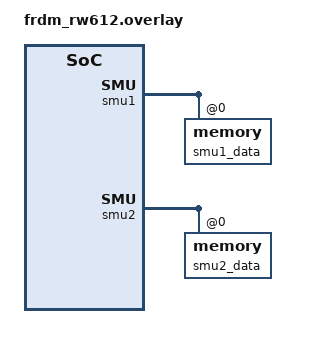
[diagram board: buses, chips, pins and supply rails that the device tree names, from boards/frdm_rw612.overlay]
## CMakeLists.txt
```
# SPDX-License-Identifier: Apache-2.0

cmake_minimum_required(VERSION 3.20.0)
find_package(Zephyr REQUIRED HINTS $ENV{ZEPHYR_BASE})
project(mbedtls)

set(output_file ${PROJECT_BINARY_DIR}/mbedtls-check.timestamp)

FILE(GLOB app_sources src/*.c)
target_sources(app PRIVATE ${app_sources})
```

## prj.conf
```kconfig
CONFIG_ZTEST_STACK_SIZE=4096
CONFIG_MBEDTLS=y
CONFIG_MBEDTLS_BUILTIN=y
CONFIG_MBEDTLS_TEST=y
CONFIG_ZTEST=y
CONFIG_TEST_USERSPACE=y
CONFIG_MINIMAL_LIBC=y
CONFIG_MINIMAL_LIBC_NON_REENTRANT_FUNCTIONS=y
CONFIG_MINIMAL_LIBC_RAND=y
CONFIG_ENTROPY_GENERATOR=y
CONFIG_TEST_RANDOM_GENERATOR=y
CONFIG_MBEDTLS_CIPHER_AES_ENABLED=y
CONFIG_MBEDTLS_USE_PSA_CRYPTO=n
CONFIG_PSA_CRYPTO_ENABLE_ALL=n
```

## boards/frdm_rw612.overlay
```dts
/*
 * Copyright 2024 NXP
 *
 * SPDX-License-Identifier: Apache-2.0
 */

&smu1 {
	smu1_data: memory@0 {
		/delete-property/ zephyr,memory-attr;
	};
};

&smu2 {
	smu2_data: memory@0 {
		/delete-property/ zephyr,memory-attr;
	};
};
```

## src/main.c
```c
/*
 * Copyright (c) 2017 Intel Corporation
 *
 * SPDX-License-Identifier: Apache-2.0
 */

#include <zephyr/ztest.h>
#include <zephyr/app_memory/partitions.h>

extern void test_mbedtls(void);

void *mbedtls_fn_setup(void)
{
#ifdef CONFIG_USERSPACE
	int ret = k_mem_domain_add_partition(&k_mem_domain_default,
					     &k_mbedtls_partition);
	if (ret != 0) {
		printk("Failed to add memory partition (%d)\n", ret);
		k_oops();
	}
#endif

	return NULL;
}

ZTEST_SUITE(mbedtls_fn, NULL, mbedtls_fn_setup, NULL, NULL, NULL);
```

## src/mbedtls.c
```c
/*  Self-test demonstration program
 *
 *  Copyright (C) 2006-2015, ARM Limited, All Rights Reserved
 *
 *  SPDX-License-Identifier: Apache-2.0
 *
 *  This file is part of mbed TLS (https://tls.mbed.org)
 */

#include <zephyr/sys/printk.h>
#define  MBEDTLS_PRINT (int(*)(const char *, ...)) printk

#include <string.h>
#include <stdio.h>
#include <stdlib.h>

#include <zephyr/kernel.h>
#include <zephyr/linker/sections.h>
#include <errno.h>

#include <zephyr/tc_util.h>
#include <zephyr/ztest.h>

#define MBEDTLS_ALLOW_PRIVATE_ACCESS

#include "mbedtls/build_info.h"


#include "mbedtls/entropy.h"
#include "mbedtls/hmac_drbg.h"
#include "mbedtls/ctr_drbg.h"
#include "mbedtls/dhm.h"
#include "mbedtls/gcm.h"
#include "mbedtls/ccm.h"
#include "mbedtls/cmac.h"
#include "mbedtls/ripemd160.h"
#include "mbedtls/sha1.h"
#include "mbedtls/sha256.h"
#include "mbedtls/sha512.h"
#include "mbedtls/des.h"
#include "mbedtls/aes.h"
#include "mbedtls/camellia.h"
#include "mbedtls/aria.h"
#include "mbedtls/chacha20.h"
#include "mbedtls/poly1305.h"
#include "mbedtls/chachapoly.h"
#include "mbedtls/base64.h"
#include "mbedtls/bignum.h"
#include "mbedtls/rsa.h"
#include "mbedtls/x509.h"
#include "mbedtls/pkcs5.h"
#include "mbedtls/ecp.h"
#include "mbedtls/ecjpake.h"
#include "mbedtls/timing.h"
#include "mbedtls/nist_kw.h"

#if defined(MBEDTLS_PLATFORM_C)
#include "mbedtls/platform.h"
#else
#include <stdio.h>
#include <stdlib.h>
#define mbedtls_printf     printf
#define mbedtls_snprintf   snprintf
#define mbedtls_exit       exit
#define MBEDTLS_EXIT_SUCCESS EXIT_SUCCESS
#define MBEDTLS_EXIT_FAILURE EXIT_FAILURE
#endif

#if defined(MBEDTLS_MEMORY_BUFFER_ALLOC_C)
#include "mbedtls/memory_buffer_alloc.h"
#endif

static int test_snprintf(size_t n, const char *ref_buf, int ref_ret)
{
	int ret;
	char buf[10] = "xxxxxxxxx";
	const char ref[10] = "xxxxxxxxx";

	ret = mbedtls_snprintf(buf, n, "%s", "123");
	if (ret < 0 || (size_t) ret >= n) {
		ret = -1;
	}

	if (strncmp(ref_buf, buf, sizeof(buf)) != 0 ||
	    ref_ret != ret || memcmp(buf + n, ref + n, sizeof(buf) - n) != 0) {
		return 1;
	}

	return 0;
}

static int run_test_snprintf(void)
{
	return (test_snprintf(0, "xxxxxxxxx", -1) != 0 ||
		test_snprintf(1, "", -1) != 0 ||
		test_snprintf(2, "1", -1) != 0 ||
		test_snprintf(3, "12", -1) != 0 ||
		test_snprintf(4, "123", 3) != 0 ||
		test_snprintf(5, "123", 3) != 0);
}

/*
 * Check if a seed file is present, and if not create one for the entropy
 * self-test. If this fails, we attempt the test anyway, so no error is passed
 * back.
 */
#if defined(MBEDTLS_ENTROPY_C) && defined(MBEDTLS_ENTROPY_NV_SEED) && \
	!defined(MBEDTLS_NO_PLATFORM_ENTROPY)
static void create_entropy_seed_file(void)
{
	int result;
	size_t output_len = 0;
	unsigned char seed_value[MBEDTLS_ENTROPY_BLOCK_SIZE];

/* Attempt to read the entropy seed file. If this fails - attempt to write
 * to the file to ensure one is present.
 */
	result = mbedtls_platform_std_nv_seed_read(seed_value,
						   MBEDTLS_ENTROPY_BLOCK_SIZE);
	if (result == 0) {
		return;
	}

	result = mbedtls_platform_entropy_poll(NULL,
					       seed_value,
					       MBEDTLS_ENTROPY_BLOCK_SIZE,
					       &output_len);
	if (result != 0) {
		return;
	}

	if (output_len != MBEDTLS_ENTROPY_BLOCK_SIZE) {
		return;
	}

	mbedtls_platform_std_nv_seed_write(seed_value,
					   MBEDTLS_ENTROPY_BLOCK_SIZE);
}
#endif

#if defined(MBEDTLS_MEMORY_BUFFER_ALLOC_C)
ZTEST_BMEM unsigned char buf[16000];
#endif

ZTEST_USER(mbedtls_fn, test_mbedtls)
{
	int v, suites_tested = 0, suites_failed = 0;

	void *pointer;

#if defined(MBEDTLS_PLATFORM_PRINTF_ALT)
	mbedtls_platform_set_printf(MBEDTLS_PRINT);
#endif

/*
 * The C standard doesn't guarantee that all-bits-0 is the representation
 * of a NULL pointer. We do however use that in our code for initializing
 * structures, which should work on every modern platform. Let's be sure.
 */
	(void)memset(&pointer, 0, sizeof(void *));
	if (pointer != NULL) {
		mbedtls_printf("all-bits-zero is not a NULL pointer\n");
		mbedtls_exit(MBEDTLS_EXIT_FAILURE);
	}

	/*
	 * Make sure we have a snprintf that correctly zero-terminates
	 */
	if (run_test_snprintf() != 0) {
		mbedtls_printf("the snprintf implementation is broken\n");
		mbedtls_exit(MBEDTLS_EXIT_FAILURE);
	}

	v = 1;
	mbedtls_printf("\n");

#if defined(MBEDTLS_SELF_TEST)

#if defined(MBEDTLS_MEMORY_BUFFER_ALLOC_C)
	mbedtls_memory_buffer_alloc_init(buf, sizeof(buf));
#endif

#if defined(MBEDTLS_MD2_C)
	if (mbedtls_md2_self_test(v) != 0) {
		suites_failed++;
	}
	suites_tested++;
#endif

#if defined(MBEDTLS_MD4_C)
	if (mbedtls_md4_self_test(v) != 0) {
		suites_failed++;
	}
	suites_tested++;
#endif

#if defined(MBEDTLS_RIPEMD160_C)
	if (mbedtls_ripemd160_self_test(v) != 0) {
		suites_failed++;
	}
	suites_tested++;
#endif

#if defined(MBEDTLS_SHA512_C)
	if (mbedtls_sha512_self_test(v) != 0) {
		suites_failed++;
	}
	suites_tested++;
#endif

#if defined(MBEDTLS_ARC4_C)
	if (mbedtls_arc4_self_test(v) != 0) {
		suites_failed++;
	}
	suites_tested++;
#endif

#if defined(MBEDTLS_DES_C)
	if (mbedtls_des_self_test(v) != 0) {
		suites_failed++;
	}
	suites_tested++;
#endif

#if defined(MBEDTLS_AES_C)
	if (mbedtls_aes_self_test(v) != 0) {
		suites_failed++;
	}
	suites_tested++;
#endif

#if defined(MBEDTLS_GCM_C) && defined(MBEDTLS_AES_C)
	if (mbedtls_gcm_self_test(v) != 0) {
		suites_failed++;
	}
	suites_tested++;
#endif

#if defined(MBEDTLS_CCM_C) && defined(MBEDTLS_AES_C)
	if (mbedtls_ccm_self_test(v) != 0) {
		suites_failed++;
	}
	suites_tested++;
#endif

#if defined(MBEDTLS_BASE64_C)
	if (mbedtls_base64_self_test(v) != 0) {
		suites_failed++;
	}
	suites_tested++;
#endif

#if defined(MBEDTLS_BIGNUM_C)
	if (mbedtls_mpi_self_test(v) != 0) {
		suites_failed++;
	}
	suites_tested++;
#endif

#if defined(MBEDTLS_RSA_C)
	if (mbedtls_rsa_self_test(v) != 0) {
		suites_failed++;
	}
	suites_tested++;
#endif

#if defined(MBEDTLS_CAMELLIA_C)
	if (mbedtls_camellia_self_test(v) != 0) {
		suites_failed++;
	}
	suites_tested++;
#endif

#if defined(MBEDTLS_ARIA_C)
	if (mbedtls_aria_self_test(v) != 0) {
		suites_failed++;
	}
	suites_tested++;
#endif

#if defined(MBEDTLS_CTR_DRBG_C)
	if (mbedtls_ctr_drbg_self_test(v) != 0) {
		suites_failed++;
	}
	suites_tested++;
#endif

#if defined(MBEDTLS_HMAC_DRBG_C)
	if (mbedtls_hmac_drbg_self_test(v) != 0) {
		suites_failed++;
	}
	suites_tested++;
#endif

#if defined(MBEDTLS_ECP_C)
	if (mbedtls_ecp_self_test(v) != 0) {
		suites_failed++;
	}
	suites_tested++;
#endif

#if defined(MBEDTLS_ECJPAKE_C)
	if (mbedtls_ecjpake_self_test(v) != 0) {
		suites_failed++;
	}
	suites_tested++;
#endif

#if defined(MBEDTLS_DHM_C)
	if (mbedtls_dhm_self_test(v) != 0) {
		suites_failed++;
	}
	suites_tested++;
#endif

#if defined(MBEDTLS_ENTROPY_C)

#if defined(MBEDTLS_ENTROPY_NV_SEED) && !defined(MBEDTLS_NO_PLATFORM_ENTROPY)
	create_entropy_seed_file();
#endif

	if (mbedtls_entropy_self_test(v) != 0) {
		suites_failed++;
	}
	suites_tested++;
#endif

#if defined(MBEDTLS_PKCS5_C)
	if (mbedtls_pkcs5_self_test(v) != 0) {
		suites_failed++;
	}
	suites_tested++;
#endif

#if defined(MBEDTLS_CMAC_C) \
	&& (defined(MBEDTLS_AES_C) || defined(MBEDTLS_DES_C))
	if (mbedtls_cmac_self_test(v) != 0) {
		suites_failed++;
	}
	suites_tested++;
#endif

/* Slow tests last */

#if defined(MBEDTLS_TIMING_C)
	if (mbedtls_timing_self_test(v) != 0) {
		suites_failed++;
	}
	suites_tested++;
#endif

#else
	mbedtls_printf(" MBEDTLS_SELF_TEST not defined.\n");
#endif

	if (v != 0) {
#if defined(MBEDTLS_MEMORY_BUFFER_ALLOC_C) && defined(MBEDTLS_MEMORY_DEBUG)
		mbedtls_memory_buffer_alloc_status();
#endif
	}
#if defined(MBEDTLS_SELF_TEST)
#if defined(MBEDTLS_MEMORY_BUFFER_ALLOC_C)
	mbedtls_memory_buffer_alloc_free();
	if (mbedtls_memory_buffer_alloc_self_test(v) != 0) {
		suites_failed++;
	}
	suites_tested++;
#endif
#endif

	if (v != 0) {
		mbedtls_printf("  Executed %d test suites\n\n", suites_tested);
		if (suites_failed > 0) {
			mbedtls_printf("  [ %d tests FAIL ]\n\n",
				       suites_failed);
		} else {
			mbedtls_printf("  [ All tests PASS ]\n\n");
		}
		zassert_not_equal(suites_tested, 0,
			      "ran %d tests", suites_tested);
		zassert_equal(suites_failed, 0,
			      "%d tests failed", suites_failed);

#if defined(_WIN32)
		mbedtls_printf("  Press Enter to exit this program.\n");
		fflush(stdout);
		getchar();
#endif
	}

}
```

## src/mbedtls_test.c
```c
/*  Self-test demonstration program
 *
 *  Copyright (C) 2006-2015, ARM Limited, All Rights Reserved
 *
 *  SPDX-License-Identifier: Apache-2.0
 *
 *  This file is part of mbed TLS (https://tls.mbed.org)
 */

#if defined(CONFIG_STDOUT_CONSOLE)
#include <stdio.h>
#define  MBEDTLS_PRINT printf
#else
#include <misc/printk.h>
#define  MBEDTLS_PRINT printk
#endif /* CONFIG_STDOUT_CONSOLE */

#include <string.h>
#include <stdio.h>
#include <stdlib.h>

#include <zephyr.h>
#include <linker/sections.h>
#include <errno.h>

#include <tc_util.h>

#if !defined(CONFIG_MBEDTLS_CFG_FILE)
#include "mbedtls/config.h"
#else
#include CONFIG_MBEDTLS_CFG_FILE
#endif

#include "mbedtls/entropy.h"
#include "mbedtls/entropy_poll.h"
#include "mbedtls/hmac_drbg.h"
#include "mbedtls/ctr_drbg.h"
#include "mbedtls/dhm.h"
#include "mbedtls/gcm.h"
#include "mbedtls/ccm.h"
#include "mbedtls/md2.h"
#include "mbedtls/md4.h"
#include "mbedtls/md5.h"
#include "mbedtls/ripemd160.h"
#include "mbedtls/sha1.h"
#include "mbedtls/sha256.h"
#include "mbedtls/sha512.h"
#include "mbedtls/arc4.h"
#include "mbedtls/des.h"
#include "mbedtls/aes.h"
#include "mbedtls/camellia.h"
#include "mbedtls/base64.h"
#include "mbedtls/bignum.h"
#include "mbedtls/rsa.h"
#include "mbedtls/x509.h"
#include "mbedtls/xtea.h"
#include "mbedtls/pkcs5.h"
#include "mbedtls/ecp.h"
#include "mbedtls/ecjpake.h"
#include "mbedtls/timing.h"
#include "mbedtls/cmac.h"

#if defined(MBEDTLS_PLATFORM_C)
#include "mbedtls/platform.h"
#else
#include <stdio.h>
#include <stdlib.h>
#define mbedtls_printf     printf
#define mbedtls_snprintf   snprintf
#define mbedtls_exit       exit
#define MBEDTLS_EXIT_SUCCESS EXIT_SUCCESS
#define MBEDTLS_EXIT_FAILURE EXIT_FAILURE
#endif

#if defined(MBEDTLS_MEMORY_BUFFER_ALLOC_C)
#include "mbedtls/memory_buffer_alloc.h"
#endif

#if defined(MBEDTLS_RSA_C)
int rand(void)
{
	static u32_t seed = 7;

	seed ^= seed << 13;
	seed ^= seed >> 17;
	seed ^= seed << 5;

	return seed;
}

#endif

static int test_snprintf(size_t n, const char ref_buf[10], int ref_ret)
{
	int ret;
	char buf[10] = "xxxxxxxxx";
	const char ref[10] = "xxxxxxxxx";

	ret = mbedtls_snprintf(buf, n, "%s", "123");
	if (ret < 0 || (size_t) ret >= n) {
		ret = -1;
	}

	if (strncmp(ref_buf, buf, sizeof(buf)) != 0 ||
	    ref_ret != ret || memcmp(buf + n, ref + n, sizeof(buf) - n) != 0) {
		return 1;
	}

	return 0;
}

static int run_test_snprintf(void)
{
	return (test_snprintf(0, "xxxxxxxxx", -1) != 0 ||
		test_snprintf(1, "", -1) != 0 ||
		test_snprintf(2, "1", -1) != 0 ||
		test_snprintf(3, "12", -1) != 0 ||
		test_snprintf(4, "123", 3) != 0 ||
		test_snprintf(5, "123", 3) != 0);
}

/*
 * Check if a seed file is present, and if not create one for the entropy
 * self-test. If this fails, we attempt the test anyway, so no error is passed
 * back.
 */
#if defined(MBEDTLS_ENTROPY_C) && defined(MBEDTLS_ENTROPY_NV_SEED) && \
	!defined(MBEDTLS_NO_PLATFORM_ENTROPY)
static void create_entropy_seed_file(void)
{
	int result;
	size_t output_len = 0;
	unsigned char seed_value[MBEDTLS_ENTROPY_BLOCK_SIZE];

/* Attempt to read the entropy seed file. If this fails - attempt to write
 * to the file to ensure one is present.
 */
	result = mbedtls_platform_std_nv_seed_read(seed_value,
						   MBEDTLS_ENTROPY_BLOCK_SIZE);
	if (0 == result) {
		return;
	}

	result = mbedtls_platform_entropy_poll(NULL,
					       seed_value,
					       MBEDTLS_ENTROPY_BLOCK_SIZE,
					       &output_len);
	if (0 != result) {
		return;
	}

	if (MBEDTLS_ENTROPY_BLOCK_SIZE != output_len) {
		return;
	}

	mbedtls_platform_std_nv_seed_write(seed_value,
					   MBEDTLS_ENTROPY_BLOCK_SIZE);
}
#endif

#if defined(MBEDTLS_MEMORY_BUFFER_ALLOC_C)
unsigned char buf[16384];
#endif

int main(void)
{
	int v, suites_tested = 0, suites_failed = 0;

	void *pointer;

	mbedtls_platform_set_printf(MBEDTLS_PRINT);

	TC_START("Performing mbedTLS crypto tests:");

/*
 * The C standard doesn't guarantee that all-bits-0 is the representation
 * of a NULL pointer. We do however use that in our code for initializing
 * structures, which should work on every modern platform. Let's be sure.
 */
	memset(&pointer, 0, sizeof(void *));
	if (pointer != NULL) {
		mbedtls_printf("all-bits-zero is not a NULL pointer\n");
		mbedtls_exit(MBEDTLS_EXIT_FAILURE);
	}

	/*
	 * Make sure we have a snprintf that correctly zero-terminates
	 */
	if (run_test_snprintf() != 0) {
		mbedtls_printf("the snprintf implementation is broken\n");
		mbedtls_exit(MBEDTLS_EXIT_FAILURE);
	}

	v = 1;
	mbedtls_printf("\n");

#if defined(MBEDTLS_SELF_TEST)

#if defined(MBEDTLS_MEMORY_BUFFER_ALLOC_C)
	mbedtls_memory_buffer_alloc_init(buf, sizeof(buf));
#endif

#if defined(MBEDTLS_MD2_C)
	if (mbedtls_md2_self_test(v) != 0) {
		suites_failed++;
	}
	suites_tested++;
#endif

#if defined(MBEDTLS_MD4_C)
	if (mbedtls_md4_self_test(v) != 0) {
		suites_failed++;
	}
	suites_tested++;
#endif

#if defined(MBEDTLS_MD5_C)
	if (mbedtls_md5_self_test(v) != 0) {
		suites_failed++;
	}
	suites_tested++;
#endif

#if defined(MBEDTLS_RIPEMD160_C)
	if (mbedtls_ripemd160_self_test(v) != 0) {
		suites_failed++;
	}
	suites_tested++;
#endif

#if defined(MBEDTLS_SHA1_C)
	if (mbedtls_sha1_self_test(v) != 0) {
		suites_failed++;
	}
	suites_tested++;
#endif

#if defined(MBEDTLS_SHA256_C)
	if (mbedtls_sha256_self_test(v) != 0) {
		suites_failed++;
	}
	suites_tested++;
#endif

#if defined(MBEDTLS_SHA512_C)
	if (mbedtls_sha512_self_test(v) != 0) {
		suites_failed++;
	}
	suites_tested++;
#endif

#if defined(MBEDTLS_ARC4_C)
	if (mbedtls_arc4_self_test(v) != 0) {
		suites_failed++;
	}
	suites_tested++;
#endif

#if defined(MBEDTLS_DES_C)
	if (mbedtls_des_self_test(v) != 0) {
		suites_failed++;
	}
	suites_tested++;
#endif

#if defined(MBEDTLS_AES_C)
	if (mbedtls_aes_self_test(v) != 0) {
		suites_failed++;
	}
	suites_tested++;
#endif

#if defined(MBEDTLS_GCM_C) && defined(MBEDTLS_AES_C)
	if (mbedtls_gcm_self_test(v) != 0) {
		suites_failed++;
	}
	suites_tested++;
#endif

#if defined(MBEDTLS_CCM_C) && defined(MBEDTLS_AES_C)
	if (mbedtls_ccm_self_test(v) != 0) {
		suites_failed++;
	}
	suites_tested++;
#endif

#if defined(MBEDTLS_BASE64_C)
	if (mbedtls_base64_self_test(v) != 0) {
		suites_failed++;
	}
	suites_tested++;
#endif

#if defined(MBEDTLS_BIGNUM_C)
	if (mbedtls_mpi_self_test(v) != 0) {
		suites_failed++;
	}
	suites_tested++;
#endif

#if defined(MBEDTLS_RSA_C)
	if (mbedtls_rsa_self_test(v) != 0) {
		suites_failed++;
	}
	suites_tested++;
#endif

#if defined(MBEDTLS_X509_USE_C)
	if (mbedtls_x509_self_test(v) != 0) {
		suites_failed++;
	}
	suites_tested++;
#endif

#if defined(MBEDTLS_XTEA_C)
	if (mbedtls_xtea_self_test(v) != 0) {
		suites_failed++;
	}
	suites_tested++;
#endif

#if defined(MBEDTLS_CAMELLIA_C)
	if (mbedtls_camellia_self_test(v) != 0) {
		suites_failed++;
	}
	suites_tested++;
#endif

#if defined(MBEDTLS_CTR_DRBG_C)
	if (mbedtls_ctr_drbg_self_test(v) != 0) {
		suites_failed++;
	}
	suites_tested++;
#endif

#if defined(MBEDTLS_HMAC_DRBG_C)
	if (mbedtls_hmac_drbg_self_test(v) != 0) {
		suites_failed++;
	}
	suites_tested++;
#endif

#if defined(MBEDTLS_ECP_C)
	if (mbedtls_ecp_self_test(v) != 0) {
		suites_failed++;
	}
	suites_tested++;
#endif

#if defined(MBEDTLS_ECJPAKE_C)
	if (mbedtls_ecjpake_self_test(v) != 0) {
		suites_failed++;
	}
	suites_tested++;
#endif

#if defined(MBEDTLS_DHM_C)
	if (mbedtls_dhm_self_test(v) != 0) {
		suites_failed++;
	}
	suites_tested++;
#endif

#if defined(MBEDTLS_ENTROPY_C)

#if defined(MBEDTLS_ENTROPY_NV_SEED) && !defined(MBEDTLS_NO_PLATFORM_ENTROPY)
	create_entropy_seed_file();
#endif

	if (mbedtls_entropy_self_test(v) != 0) {
		suites_failed++;
	}
	suites_tested++;
#endif

#if defined(MBEDTLS_PKCS5_C)
	if (mbedtls_pkcs5_self_test(v) != 0) {
		suites_failed++;
	}
	suites_tested++;
#endif

#if defined(MBEDTLS_CMAC_C) \
	&& (defined(MBEDTLS_AES_C) || defined(MBEDTLS_DES_C))
	if (mbedtls_cmac_self_test(v) != 0) {
		suites_failed++;
	}
	suites_tested++;
#endif

/* Slow tests last */

#if defined(MBEDTLS_TIMING_C)
	if (mbedtls_timing_self_test(v) != 0) {
		suites_failed++;
	}
	suites_tested++;
#endif

#else
	mbedtls_printf(" MBEDTLS_SELF_TEST not defined.\n");
#endif

	if (v != 0) {
#if defined(MBEDTLS_MEMORY_BUFFER_ALLOC_C) && defined(MBEDTLS_MEMORY_DEBUG)
		mbedtls_memory_buffer_alloc_status();
#endif
	}
#if defined(MBEDTLS_MEMORY_BUFFER_ALLOC_C)
	mbedtls_memory_buffer_alloc_free();
	if (mbedtls_memory_buffer_alloc_self_test(v) != 0) {
		suites_failed++;
	}
	suites_tested++;
#endif

	if (v != 0) {
		mbedtls_printf("  Executed %d test suites\n\n", suites_tested);

		if (suites_failed > 0) {
			mbedtls_printf("  [ %d tests FAIL ]\n\n",
				       suites_failed);
			TC_END_RESULT(TC_FAIL);
			TC_END_REPORT(TC_FAIL);
		} else {
			mbedtls_printf("  [ All tests PASS ]\n\n");
			TC_END_RESULT(TC_PASS);
			TC_END_REPORT(TC_PASS);
		}
#if defined(_WIN32)
		mbedtls_printf("  Press Enter to exit this program.\n");
		fflush(stdout);
		getchar();
#endif
	}

	while (1) {
	}
}
```
